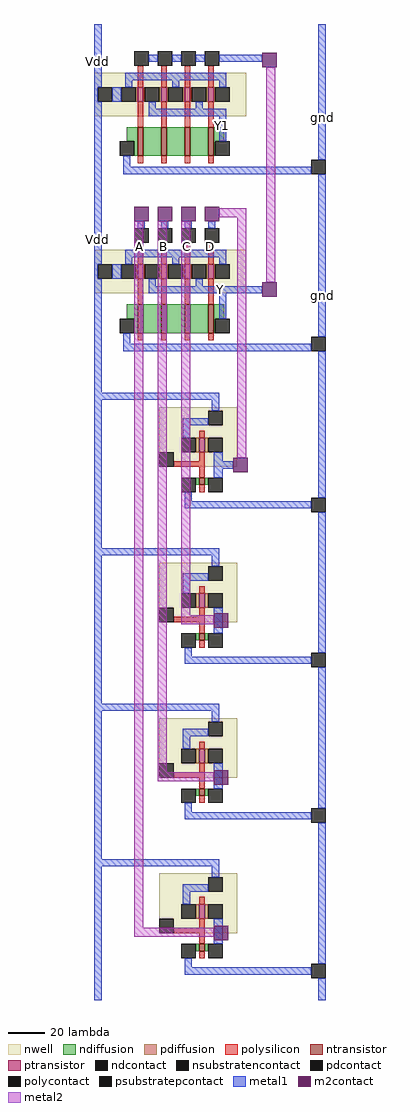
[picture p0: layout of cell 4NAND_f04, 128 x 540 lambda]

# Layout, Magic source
magic
tech tsmc
<< nwell >>
rect -18 90 66 114
rect -18 -8 66 16
<< ntransistor >>
rect 6 68 9 84
rect 19 68 22 84
rect 32 68 35 84
rect 45 68 48 84
rect 6 -30 9 -14
rect 19 -30 22 -14
rect 32 -30 35 -14
rect 45 -30 48 -14
<< ptransistor >>
rect 6 98 9 106
rect 19 98 22 106
rect 32 98 35 106
rect 45 98 48 106
rect 6 0 9 8
rect 19 0 22 8
rect 32 0 35 8
rect 45 0 48 8
<< ndiffusion >>
rect 0 76 6 84
rect 4 68 6 76
rect 9 68 19 84
rect 22 68 32 84
rect 35 68 45 84
rect 48 76 54 84
rect 48 68 49 76
rect 0 -22 6 -14
rect 4 -30 6 -22
rect 9 -30 19 -14
rect 22 -30 32 -14
rect 35 -30 45 -14
rect 48 -22 54 -14
rect 48 -30 49 -22
<< pdiffusion >>
rect 5 98 6 106
rect 9 98 10 106
rect 18 98 19 106
rect 22 98 23 106
rect 31 98 32 106
rect 35 98 36 106
rect 44 98 45 106
rect 48 98 49 106
rect 5 0 6 8
rect 9 0 10 8
rect 18 0 19 8
rect 22 0 23 8
rect 31 0 32 8
rect 35 0 36 8
rect 44 0 45 8
rect 48 0 49 8
<< ndcontact >>
rect -4 68 4 76
rect 49 68 57 76
rect -4 -30 4 -22
rect 49 -30 57 -22
<< pdcontact >>
rect -3 98 5 106
rect 10 98 18 106
rect 23 98 31 106
rect 36 98 44 106
rect 49 98 57 106
rect -3 0 5 8
rect 10 0 18 8
rect 23 0 31 8
rect 36 0 44 8
rect 49 0 57 8
<< psubstratepcontact >>
rect 102 58 110 66
rect 102 -40 110 -32
<< nsubstratencontact >>
rect -16 98 -8 106
rect -16 0 -8 8
<< polysilicon >>
rect 6 106 9 118
rect 19 106 22 118
rect 32 106 35 118
rect 45 106 48 118
rect 6 84 9 98
rect 19 84 22 98
rect 32 84 35 98
rect 45 84 48 98
rect 6 64 9 68
rect 19 64 22 68
rect 32 64 35 68
rect 45 64 48 68
rect 6 8 9 20
rect 19 8 22 20
rect 32 8 35 20
rect 45 8 48 20
rect 6 -14 9 0
rect 19 -14 22 0
rect 32 -14 35 0
rect 45 -14 48 0
rect 6 -34 9 -30
rect 19 -34 22 -30
rect 32 -34 35 -30
rect 45 -34 48 -30
<< polycontact >>
rect 4 118 12 126
rect 17 118 25 126
rect 30 118 38 126
rect 43 118 51 126
rect 4 20 12 28
rect 17 20 25 28
rect 30 20 38 28
rect 43 20 51 28
<< metal1 >>
rect -18 106 -14 141
rect 12 120 17 124
rect 25 120 30 124
rect 38 120 43 124
rect 51 120 75 124
rect -1 110 55 114
rect -1 106 3 110
rect 25 106 29 110
rect 51 106 55 110
rect -18 98 -16 106
rect -8 98 -3 106
rect -18 8 -14 98
rect 12 94 16 98
rect 38 94 42 98
rect 12 90 55 94
rect 51 76 55 90
rect -2 62 2 68
rect 106 66 110 141
rect -2 58 102 62
rect 6 28 10 32
rect 19 28 23 32
rect 32 28 36 32
rect 45 28 49 32
rect -1 12 55 16
rect -1 8 3 12
rect 25 8 29 12
rect 51 8 55 12
rect -18 0 -16 8
rect -8 0 -3 8
rect -18 -55 -14 0
rect 12 -4 16 0
rect 38 -4 42 0
rect 12 -8 75 -4
rect 51 -22 55 -8
rect -2 -36 2 -30
rect 106 -32 110 58
rect -2 -40 102 -36
rect 106 -55 110 -40
rect 52 -105 59 -101
<< m2contact >>
rect 75 117 83 125
rect 4 32 12 40
rect 17 32 25 40
rect 30 32 38 40
rect 43 32 51 40
rect 75 -10 83 -2
rect 59 -107 67 -99
rect 48 -193 56 -185
rect 48 -280 56 -272
rect 48 -366 56 -358
<< metal2 >>
rect 51 34 66 39
rect 4 -359 9 32
rect 17 -273 22 32
rect 30 -186 35 32
rect 61 -99 66 34
rect 77 -2 82 117
rect 30 -191 48 -186
rect 17 -278 48 -273
rect 4 -364 48 -359
use 1INV  1INV_0
transform 1 0 31 0 1 -121
box -49 -20 79 66
use 1INV  1INV_1
transform 1 0 31 0 1 -207
box -49 -20 79 66
use 1INV  1INV_2
transform 1 0 31 0 1 -293
box -49 -20 79 66
use 1INV  1INV_3
transform 1 0 31 0 1 -379
box -49 -20 79 66
<< labels >>
rlabel metal1 108 -9 108 -9 7 gnd
rlabel polysilicon 7 18 7 18 1 A
rlabel polysilicon 20 18 20 18 1 B
rlabel polysilicon 33 18 33 18 1 C
rlabel polysilicon 46 18 46 18 1 D
rlabel metal1 -16 22 -16 22 3 Vdd
rlabel metal1 52 -6 52 -6 1 Y
rlabel metal1 108 89 108 89 7 gnd
rlabel metal1 -16 120 -16 120 3 Vdd
rlabel metal1 51 76 55 94 1 Y1
<< end >>

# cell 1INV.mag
magic
tech tsmc
<< nwell >>
rect -13 17 30 50
<< ntransistor >>
rect 9 7 12 11
<< ptransistor >>
rect 9 25 12 33
<< ndiffusion >>
rect 7 7 9 11
rect 12 7 14 11
<< pdiffusion >>
rect 7 25 9 33
rect 12 25 14 33
<< ndcontact >>
rect -1 3 7 11
rect 14 3 22 11
<< pdcontact >>
rect -1 25 7 33
rect 14 25 22 33
<< psubstratepcontact >>
rect 71 -8 79 0
<< nsubstratencontact >>
rect 14 40 22 48
<< polysilicon >>
rect 9 33 12 37
rect 9 20 12 25
rect -5 17 12 20
rect 9 11 12 17
rect 9 3 12 7
<< polycontact >>
rect -13 17 -5 25
<< metal1 >>
rect -49 58 -45 66
rect -49 54 20 58
rect -49 -20 -45 54
rect 16 48 20 54
rect 0 40 14 44
rect 0 33 4 40
rect 17 11 22 25
rect 1 -2 5 3
rect 75 0 79 66
rect 1 -6 71 -2
rect 75 -20 79 -8
<< end >>
